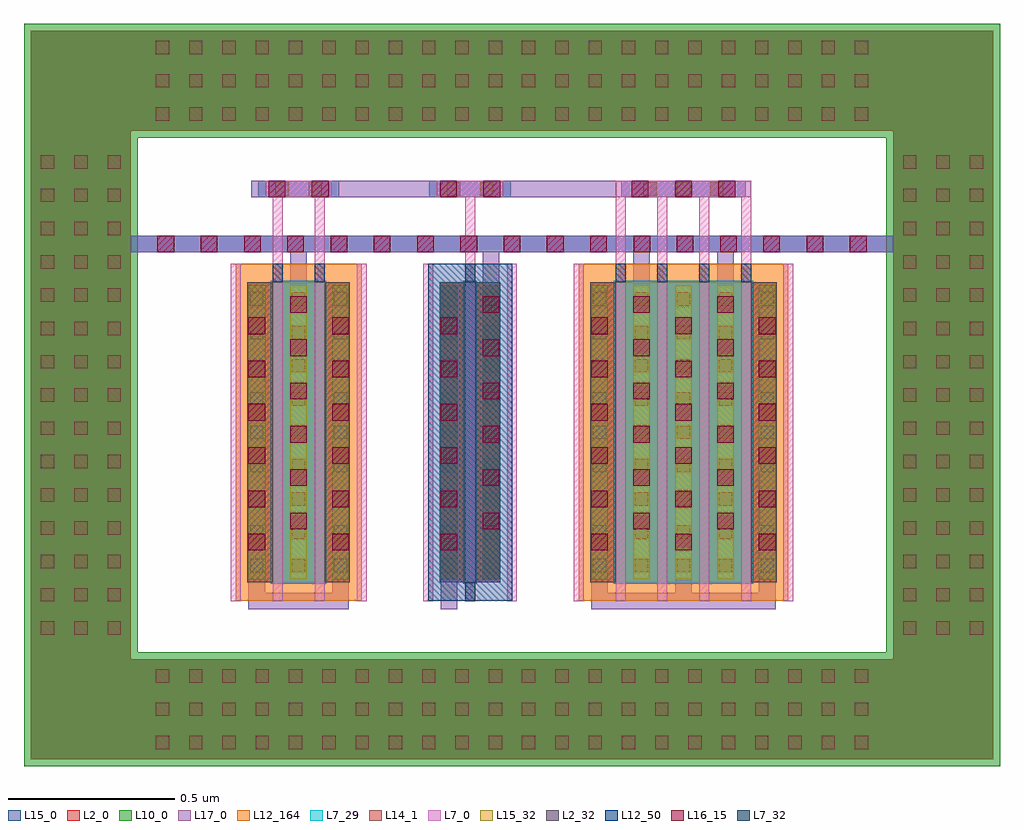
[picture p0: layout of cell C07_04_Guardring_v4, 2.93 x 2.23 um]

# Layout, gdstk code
import gdstk
lib = gdstk.Library(unit=1e-6, precision=1e-09)
def R(c, l, rs):  # rectangles x0, y0, x1, y1
    for r in rs: c.add(gdstk.rectangle(r[:2], r[2:], *l))
def A(c, l, x, y, w, h, nx, ny, dx, dy):  # array of equal rectangles
    R(c, l, [(x+i*dx, y+j*dy, x+i*dx+w, y+j*dy+h) for i in range(nx) for j in range(ny)])
L2_0 = (2, 0)
L2_32 = (2, 32)
L7_0 = (7, 0)
L7_29 = (7, 29)
L7_32 = (7, 32)
L10_0 = (10, 0)
L12_50 = (12, 50)
L12_164 = (12, 164)
L14_1 = (14, 1)
L15_0 = (15, 0)
L15_32 = (15, 32)
L16_15 = (16, 15)
L17_0 = (17, 0)

c07_04_guardring_v4_srf_ = lib.new_cell('C07_04_Guardring_v4:SRF_Tr12Tr3Tr10:SRF_Tr12:SRF_Source_ViaM1M2:SRF_ViaM1M2')
R(c07_04_guardring_v4_srf_, L15_0, [(0,-0.682,0.05,0.082)])
A(c07_04_guardring_v4_srf_, L16_15, 0, -0.65, 0.05, 0.05, 1, 6, 0, 0.13)
R(c07_04_guardring_v4_srf_, L17_0, [(0,-0.682,0.05,0.082)])

c_c07_04_guardring_v4_srf_ = lib.new_cell('C07_04_Guardring_v4:SRF_Tr12Tr3Tr10:SRF_Tr12:SRF_Source_ViaM1M2')
c_c07_04_guardring_v4_srf_.add(gdstk.Reference(c07_04_guardring_v4_srf_, (-0.025,0.3)))

c_c07_04_guardring_v4_srf__ = lib.new_cell('C07_04_Guardring_v4:SRF_Tr12Tr3Tr10:SRF_Tr12:SRF_Drain_ViaM1M2:SRF_ViaM1M2')
R(c_c07_04_guardring_v4_srf__, L15_0, [(0,-0.682,0.05,0.082)])
A(c_c07_04_guardring_v4_srf__, L16_15, 0, -0.65, 0.05, 0.05, 1, 6, 0, 0.13)
R(c_c07_04_guardring_v4_srf__, L17_0, [(0,-0.682,0.05,0.082)])

c_c07_04_guardring_v4_srf___ = lib.new_cell('C07_04_Guardring_v4:SRF_Tr12Tr3Tr10:SRF_Tr12:SRF_Drain_ViaM1M2')
c_c07_04_guardring_v4_srf___.add(gdstk.Reference(c_c07_04_guardring_v4_srf__, (-0.025,0.3)))

c_c07_04_guardring_v4_srf____ = lib.new_cell('C07_04_Guardring_v4:SRF_Tr12Tr3Tr10:SRF_Tr12:SRF_Gate_ViaM0Mx:SRF_ViaM0M1')
R(c_c07_04_guardring_v4_srf____, L7_0, [(-0.01,-0.004,0.15,0.044)])
R(c_c07_04_guardring_v4_srf____, L14_1, [(0,0,0.04,0.04), (0.1,0,0.14,0.04)])
R(c_c07_04_guardring_v4_srf____, L15_0, [(-0.021,-0.005,0.161,0.045)])

c_c07_04_guardring_v4_srf_____ = lib.new_cell('C07_04_Guardring_v4:SRF_Tr12Tr3Tr10:SRF_Tr12:SRF_Gate_ViaM0Mx:SRF_ViaM1M2')
R(c_c07_04_guardring_v4_srf_____, L15_0, [(-0.032,0,0.212,0.05)])
R(c_c07_04_guardring_v4_srf_____, L16_15, [(0,0,0.05,0.05), (0.13,0,0.18,0.05)])
R(c_c07_04_guardring_v4_srf_____, L17_0, [(-0.032,0,0.212,0.05)])

c_c07_04_guardring_v4_srf______ = lib.new_cell('C07_04_Guardring_v4:SRF_Tr12Tr3Tr10:SRF_Tr12:SRF_Gate_ViaM0Mx')
c_c07_04_guardring_v4_srf______.add(gdstk.Reference(c_c07_04_guardring_v4_srf____, (-0.07,-0.02)))
c_c07_04_guardring_v4_srf______.add(gdstk.Reference(c_c07_04_guardring_v4_srf_____, (-0.09,-0.025)))

c_c07_04_guardring_v4_srf_______ = lib.new_cell('C07_04_Guardring_v4:SRF_Tr12Tr3Tr10:SRF_Tr12')
R(c_c07_04_guardring_v4_srf_______, L2_0, [(-0.076,0.057,0.232,0.957)])
R(c_c07_04_guardring_v4_srf_______, L2_32, [(-0.076,0.057,0,0.957), (0.156,0.057,0.232,0.957)])
A(c_c07_04_guardring_v4_srf_______, L7_0, -0.126, 0, 0.03, 1.014, 4, 1, 0.126, 0)
R(c_c07_04_guardring_v4_srf_______, L7_0, [(0,1.014,0.03,1.214), (0.126,1.014,0.156,1.214), (-0.022,1.214,0.178,1.262)])
R(c_c07_04_guardring_v4_srf_______, L7_29, [(-0.005,0.052,0.161,0.962)])
R(c_c07_04_guardring_v4_srf_______, L7_32, [(0,0.957,0.03,1.014), (0.126,0.957,0.156,1.014)])
R(c_c07_04_guardring_v4_srf_______, L12_164, [(-0.111,0.001,0.267,1.013)])
A(c_c07_04_guardring_v4_srf_______, L14_1, -0.068, 0.087, 0.04, 0.04, 3, 9, 0.126, 0.1)
R(c_c07_04_guardring_v4_srf_______, L15_0, [(-0.073,0.066,-0.023,0.948), (-0.073,0.066,-0.023,0.948), (0.053,0.066,0.103,0.948), (0.053,0.066,0.103,0.948), (0.179,0.066,0.229,0.948), (0.179,0.066,0.229,0.948)])
A(c_c07_04_guardring_v4_srf_______, L15_32, -0.073, 0.066, 0.05, 0.882, 3, 1, 0.126, 0)
R(c_c07_04_guardring_v4_srf_______, L17_0, [(-0.073,-0.025,0.229,0.025), (-0.073,0.025,-0.023,0.884), (0.179,0.025,0.229,0.884), (0.053,0.948,0.103,1.048), (0.053,1.048,0.103,1.098), (-0.064,1.213,0.22,1.263)])
c_c07_04_guardring_v4_srf_______.add(gdstk.Reference(c_c07_04_guardring_v4_srf_, (-0.048,0.502)))
c_c07_04_guardring_v4_srf_______.add(gdstk.Reference(c_c07_04_guardring_v4_srf_, (0.204,0.502)))
c_c07_04_guardring_v4_srf_______.add(gdstk.Reference(c_c07_04_guardring_v4_srf___, (0.078,0.566)))
c_c07_04_guardring_v4_srf_______.add(gdstk.Reference(c_c07_04_guardring_v4_srf______, (0.078,1.238)))

c_c07_04_guardring_v4_srf________ = lib.new_cell('C07_04_Guardring_v4:SRF_Tr12Tr3Tr10:SRF_Tr3:SRF_Source_ViaM1M2:SRF_ViaM1M2')
R(c_c07_04_guardring_v4_srf________, L15_0, [(0,-0.682,0.05,0.082)])
A(c_c07_04_guardring_v4_srf________, L16_15, 0, -0.65, 0.05, 0.05, 1, 6, 0, 0.13)
R(c_c07_04_guardring_v4_srf________, L17_0, [(0,-0.682,0.05,0.082)])

c_c07_04_guardring_v4_srf_________ = lib.new_cell('C07_04_Guardring_v4:SRF_Tr12Tr3Tr10:SRF_Tr3:SRF_Source_ViaM1M2')
c_c07_04_guardring_v4_srf_________.add(gdstk.Reference(c_c07_04_guardring_v4_srf________, (-0.025,0.3)))

c_c07_04_guardring_v4_srf__________ = lib.new_cell('C07_04_Guardring_v4:SRF_Tr12Tr3Tr10:SRF_Tr3:SRF_Drain_ViaM1M2:SRF_ViaM1M2')
R(c_c07_04_guardring_v4_srf__________, L15_0, [(0,-0.682,0.05,0.082)])
A(c_c07_04_guardring_v4_srf__________, L16_15, 0, -0.65, 0.05, 0.05, 1, 6, 0, 0.13)
R(c_c07_04_guardring_v4_srf__________, L17_0, [(0,-0.682,0.05,0.082)])

c_c07_04_guardring_v4_srf___________ = lib.new_cell('C07_04_Guardring_v4:SRF_Tr12Tr3Tr10:SRF_Tr3:SRF_Drain_ViaM1M2')
c_c07_04_guardring_v4_srf___________.add(gdstk.Reference(c_c07_04_guardring_v4_srf__________, (-0.025,0.3)))

c_c07_04_guardring_v4_srf____________ = lib.new_cell('C07_04_Guardring_v4:SRF_Tr12Tr3Tr10:SRF_Tr3:SRF_Gate_ViaM0Mx:SRF_ViaM0M1')
R(c_c07_04_guardring_v4_srf____________, L7_0, [(-0.01,-0.004,0.15,0.044)])
R(c_c07_04_guardring_v4_srf____________, L14_1, [(0,0,0.04,0.04), (0.1,0,0.14,0.04)])
R(c_c07_04_guardring_v4_srf____________, L15_0, [(-0.021,-0.005,0.161,0.045)])

c_c07_04_guardring_v4_srf_____________ = lib.new_cell('C07_04_Guardring_v4:SRF_Tr12Tr3Tr10:SRF_Tr3:SRF_Gate_ViaM0Mx:SRF_ViaM1M2')
R(c_c07_04_guardring_v4_srf_____________, L15_0, [(-0.032,0,0.212,0.05)])
R(c_c07_04_guardring_v4_srf_____________, L16_15, [(0,0,0.05,0.05), (0.13,0,0.18,0.05)])
R(c_c07_04_guardring_v4_srf_____________, L17_0, [(-0.032,0,0.212,0.05)])

c_c07_04_guardring_v4_srf______________ = lib.new_cell('C07_04_Guardring_v4:SRF_Tr12Tr3Tr10:SRF_Tr3:SRF_Gate_ViaM0Mx')
c_c07_04_guardring_v4_srf______________.add(gdstk.Reference(c_c07_04_guardring_v4_srf____________, (-0.07,-0.02)))
c_c07_04_guardring_v4_srf______________.add(gdstk.Reference(c_c07_04_guardring_v4_srf_____________, (-0.09,-0.025)))

c_c07_04_guardring_v4_srf_______________ = lib.new_cell('C07_04_Guardring_v4:SRF_Tr12Tr3Tr10:SRF_Tr3')
R(c_c07_04_guardring_v4_srf_______________, L2_0, [(-0.076,0.057,0.106,0.957)])
R(c_c07_04_guardring_v4_srf_______________, L2_32, [(-0.076,0.057,0,0.957), (0.03,0.057,0.106,0.957)])
A(c_c07_04_guardring_v4_srf_______________, L7_0, -0.126, 0, 0.03, 1.014, 3, 1, 0.126, 0)
R(c_c07_04_guardring_v4_srf_______________, L7_0, [(0,1.014,0.03,1.214), (-0.085,1.214,0.115,1.262)])
R(c_c07_04_guardring_v4_srf_______________, L7_29, [(-0.005,0.052,0.035,0.962)])
R(c_c07_04_guardring_v4_srf_______________, L7_32, [(0,0,0.03,0.057), (0,0.957,0.03,1.014)])
R(c_c07_04_guardring_v4_srf_______________, L12_50, [(-0.111,0.001,0.141,1.013)])
A(c_c07_04_guardring_v4_srf_______________, L14_1, -0.068, 0.087, 0.04, 0.04, 1, 9, 0, 0.1)
A(c_c07_04_guardring_v4_srf_______________, L14_1, 0.058, 0.087, 0.04, 0.04, 1, 9, 0, 0.1)
R(c_c07_04_guardring_v4_srf_______________, L15_0, [(-0.073,0.066,-0.023,0.948), (-0.073,0.066,-0.023,0.948), (0.053,0.066,0.103,0.948), (0.053,0.066,0.103,0.948)])
R(c_c07_04_guardring_v4_srf_______________, L15_32, [(-0.073,0.066,-0.023,0.948), (0.053,0.066,0.103,0.948)])
R(c_c07_04_guardring_v4_srf_______________, L17_0, [(-0.073,-0.025,-0.023,0.025), (-0.073,0.025,-0.023,0.884), (0.053,0.948,0.103,1.048), (0.053,1.048,0.103,1.098), (-0.127,1.213,0.157,1.263)])
c_c07_04_guardring_v4_srf_______________.add(gdstk.Reference(c_c07_04_guardring_v4_srf_________, (-0.048,0.502)))
c_c07_04_guardring_v4_srf_______________.add(gdstk.Reference(c_c07_04_guardring_v4_srf___________, (0.078,0.566)))
c_c07_04_guardring_v4_srf_______________.add(gdstk.Reference(c_c07_04_guardring_v4_srf______________, (0.015,1.238)))

c_c07_04_guardring_v4_srf________________ = lib.new_cell('C07_04_Guardring_v4:SRF_Tr12Tr3Tr10:SRF_Tr10:SRF_Source_ViaM1M2:SRF_ViaM1M2')
R(c_c07_04_guardring_v4_srf________________, L15_0, [(0,-0.682,0.05,0.082)])
A(c_c07_04_guardring_v4_srf________________, L16_15, 0, -0.65, 0.05, 0.05, 1, 6, 0, 0.13)
R(c_c07_04_guardring_v4_srf________________, L17_0, [(0,-0.682,0.05,0.082)])

c_c07_04_guardring_v4_srf_________________ = lib.new_cell('C07_04_Guardring_v4:SRF_Tr12Tr3Tr10:SRF_Tr10:SRF_Source_ViaM1M2')
c_c07_04_guardring_v4_srf_________________.add(gdstk.Reference(c_c07_04_guardring_v4_srf________________, (-0.025,0.3)))

c_c07_04_guardring_v4_srf__________________ = lib.new_cell('C07_04_Guardring_v4:SRF_Tr12Tr3Tr10:SRF_Tr10:SRF_Drain_ViaM1M2:SRF_ViaM1M2')
R(c_c07_04_guardring_v4_srf__________________, L15_0, [(0,-0.682,0.05,0.082)])
A(c_c07_04_guardring_v4_srf__________________, L16_15, 0, -0.65, 0.05, 0.05, 1, 6, 0, 0.13)
R(c_c07_04_guardring_v4_srf__________________, L17_0, [(0,-0.682,0.05,0.082)])

c_c07_04_guardring_v4_srf___________________ = lib.new_cell('C07_04_Guardring_v4:SRF_Tr12Tr3Tr10:SRF_Tr10:SRF_Drain_ViaM1M2')
c_c07_04_guardring_v4_srf___________________.add(gdstk.Reference(c_c07_04_guardring_v4_srf__________________, (-0.025,0.3)))

c_c07_04_guardring_v4_srf____________________ = lib.new_cell('C07_04_Guardring_v4:SRF_Tr12Tr3Tr10:SRF_Tr10:SRF_Gate_ViaM0Mx:SRF_ViaM0M1')
R(c_c07_04_guardring_v4_srf____________________, L7_0, [(-0.01,-0.004,0.25,0.044)])
A(c_c07_04_guardring_v4_srf____________________, L14_1, 0, 0, 0.04, 0.04, 3, 1, 0.1, 0)
R(c_c07_04_guardring_v4_srf____________________, L15_0, [(-0.021,-0.005,0.261,0.045)])

c_c07_04_guardring_v4_srf_____________________ = lib.new_cell('C07_04_Guardring_v4:SRF_Tr12Tr3Tr10:SRF_Tr10:SRF_Gate_ViaM0Mx:SRF_ViaM1M2')
R(c_c07_04_guardring_v4_srf_____________________, L15_0, [(-0.032,0,0.342,0.05)])
A(c_c07_04_guardring_v4_srf_____________________, L16_15, 0, 0, 0.05, 0.05, 3, 1, 0.13, 0)
R(c_c07_04_guardring_v4_srf_____________________, L17_0, [(-0.032,0,0.342,0.05)])

c_c07_04_guardring_v4_srf______________________ = lib.new_cell('C07_04_Guardring_v4:SRF_Tr12Tr3Tr10:SRF_Tr10:SRF_Gate_ViaM0Mx')
c_c07_04_guardring_v4_srf______________________.add(gdstk.Reference(c_c07_04_guardring_v4_srf____________________, (-0.12,-0.02)))
c_c07_04_guardring_v4_srf______________________.add(gdstk.Reference(c_c07_04_guardring_v4_srf_____________________, (-0.155,-0.025)))

c_c07_04_guardring_v4_srf_______________________ = lib.new_cell('C07_04_Guardring_v4:SRF_Tr12Tr3Tr10:SRF_Tr10')
R(c_c07_04_guardring_v4_srf_______________________, L2_0, [(-0.076,0.057,0.484,0.957)])
R(c_c07_04_guardring_v4_srf_______________________, L2_32, [(-0.076,0.057,0,0.957), (0.408,0.057,0.484,0.957)])
A(c_c07_04_guardring_v4_srf_______________________, L7_0, -0.126, 0, 0.03, 1.014, 6, 1, 0.126, 0)
A(c_c07_04_guardring_v4_srf_______________________, L7_0, 0, 1.014, 0.03, 0.2, 4, 1, 0.126, 0)
R(c_c07_04_guardring_v4_srf_______________________, L7_0, [(0,1.214,0.408,1.262)])
R(c_c07_04_guardring_v4_srf_______________________, L7_29, [(-0.005,0.052,0.413,0.962)])
A(c_c07_04_guardring_v4_srf_______________________, L7_32, 0, 0.957, 0.03, 0.057, 4, 1, 0.126, 0)
R(c_c07_04_guardring_v4_srf_______________________, L12_164, [(-0.111,0.001,0.519,1.013)])
A(c_c07_04_guardring_v4_srf_______________________, L14_1, -0.068, 0.087, 0.04, 0.04, 5, 9, 0.126, 0.1)
R(c_c07_04_guardring_v4_srf_______________________, L15_0, [(-0.073,0.066,-0.023,0.948), (-0.073,0.066,-0.023,0.948), (0.053,0.066,0.103,0.948), (0.053,0.066,0.103,0.948), (0.179,0.066,0.229,0.948), (0.179,0.066,0.229,0.948), (0.305,0.066,0.355,0.948), (0.305,0.066,0.355,0.948), (0.431,0.066,0.481,0.948), (0.431,0.066,0.481,0.948)])
A(c_c07_04_guardring_v4_srf_______________________, L15_32, -0.073, 0.066, 0.05, 0.882, 5, 1, 0.126, 0)
A(c_c07_04_guardring_v4_srf_______________________, L17_0, -0.073, 0.025, 0.05, 0.859, 3, 1, 0.252, 0)
R(c_c07_04_guardring_v4_srf_______________________, L17_0, [(-0.073,-0.025,0.481,0.025), (0.053,0.948,0.103,1.048), (0.305,0.948,0.355,1.048), (0.053,1.048,0.355,1.098), (0,1.213,0.408,1.263)])
c_c07_04_guardring_v4_srf_______________________.add(gdstk.Reference(c_c07_04_guardring_v4_srf_________________, (-0.048,0.502)))
c_c07_04_guardring_v4_srf_______________________.add(gdstk.Reference(c_c07_04_guardring_v4_srf_________________, (0.204,0.502)))
c_c07_04_guardring_v4_srf_______________________.add(gdstk.Reference(c_c07_04_guardring_v4_srf_________________, (0.456,0.502)))
c_c07_04_guardring_v4_srf_______________________.add(gdstk.Reference(c_c07_04_guardring_v4_srf___________________, (0.078,0.566)))
c_c07_04_guardring_v4_srf_______________________.add(gdstk.Reference(c_c07_04_guardring_v4_srf___________________, (0.33,0.566)))
c_c07_04_guardring_v4_srf_______________________.add(gdstk.Reference(c_c07_04_guardring_v4_srf______________________, (0.204,1.238)))

c_c07_04_guardring_v4_srf________________________ = lib.new_cell('C07_04_Guardring_v4:SRF_Tr12Tr3Tr10')
c_c07_04_guardring_v4_srf________________________.add(gdstk.Reference(c_c07_04_guardring_v4_srf_______, (0,0)))
c_c07_04_guardring_v4_srf________________________.add(gdstk.Reference(c_c07_04_guardring_v4_srf_______________, (0.578,0)))
c_c07_04_guardring_v4_srf________________________.add(gdstk.Reference(c_c07_04_guardring_v4_srf_______________________, (1.03,0)))

c07_04_guardring_v4__pbo = lib.new_cell('C07_04_Guardring_v4:_Pbodyring:SRF_PbodyTop:SRF_PbodyContactPhyLen')
R(c07_04_guardring_v4__pbo, L2_0, [(-0.075,-0.23,2.215,0.07)])
R(c07_04_guardring_v4__pbo, L10_0, [(-0.096,-0.251,2.236,0.091)])
A(c07_04_guardring_v4__pbo, L14_1, 0, -0.2, 0.04, 0.04, 22, 3, 0.1, 0.1)
R(c07_04_guardring_v4__pbo, L15_0, [(-0.075,-0.23,2.215,0.07)])

c_c07_04_guardring_v4__pbo = lib.new_cell('C07_04_Guardring_v4:_Pbodyring:SRF_PbodyTop')
c_c07_04_guardring_v4__pbo.add(gdstk.Reference(c07_04_guardring_v4__pbo, (0,0)))

c_c07_04_guardring_v4__pbo_ = lib.new_cell('C07_04_Guardring_v4:_Pbodyring:SRF_PbodyBottom:SRF_PbodyContactPhyLen')
R(c_c07_04_guardring_v4__pbo_, L2_0, [(-0.075,-0.23,2.215,0.07)])
R(c_c07_04_guardring_v4__pbo_, L10_0, [(-0.096,-0.251,2.236,0.091)])
A(c_c07_04_guardring_v4__pbo_, L14_1, 0, -0.2, 0.04, 0.04, 22, 3, 0.1, 0.1)
R(c_c07_04_guardring_v4__pbo_, L15_0, [(-0.075,-0.23,2.215,0.07)])

c_c07_04_guardring_v4__pbo__ = lib.new_cell('C07_04_Guardring_v4:_Pbodyring:SRF_PbodyBottom')
c_c07_04_guardring_v4__pbo__.add(gdstk.Reference(c_c07_04_guardring_v4__pbo_, (0,0)))

c_c07_04_guardring_v4__pbo___ = lib.new_cell('C07_04_Guardring_v4:_Pbodyring:SRF_PbodyLeft:SRF_PbodyContactPhyLen')
R(c_c07_04_guardring_v4__pbo___, L2_0, [(-0.03,-1.474,0.27,0.114)])
R(c_c07_04_guardring_v4__pbo___, L10_0, [(-0.051,-1.495,0.291,0.135)])
A(c_c07_04_guardring_v4__pbo___, L14_1, 0, -1.4, 0.04, 0.04, 3, 15, 0.1, 0.1)
R(c_c07_04_guardring_v4__pbo___, L15_0, [(-0.03,-1.474,0.27,0.114)])

c_c07_04_guardring_v4__pbo____ = lib.new_cell('C07_04_Guardring_v4:_Pbodyring:SRF_PbodyLeft')
c_c07_04_guardring_v4__pbo____.add(gdstk.Reference(c_c07_04_guardring_v4__pbo___, (0,0)))

c_c07_04_guardring_v4__pbo_____ = lib.new_cell('C07_04_Guardring_v4:_Pbodyring:SRF_PbodyRight:SRF_PbodyContactPhyLen')
R(c_c07_04_guardring_v4__pbo_____, L2_0, [(-0.03,-1.474,0.27,0.114)])
R(c_c07_04_guardring_v4__pbo_____, L10_0, [(-0.051,-1.495,0.291,0.135)])
A(c_c07_04_guardring_v4__pbo_____, L14_1, 0, -1.4, 0.04, 0.04, 3, 15, 0.1, 0.1)
R(c_c07_04_guardring_v4__pbo_____, L15_0, [(-0.03,-1.474,0.27,0.114)])

c_c07_04_guardring_v4__pbo______ = lib.new_cell('C07_04_Guardring_v4:_Pbodyring:SRF_PbodyRight')
c_c07_04_guardring_v4__pbo______.add(gdstk.Reference(c_c07_04_guardring_v4__pbo_____, (0,0)))

c_c07_04_guardring_v4__pbo_______ = lib.new_cell('C07_04_Guardring_v4:_Pbodyring')
R(c_c07_04_guardring_v4__pbo_______, L2_0, [(-0.375,-2.118,2.515,-1.818), (-0.375,-2.118,-0.075,0.07), (2.215,-2.118,2.515,0.07), (-0.375,-0.23,2.515,0.07)])
R(c_c07_04_guardring_v4__pbo_______, L10_0, [(-0.396,-2.139,2.536,-1.797), (-0.396,-2.139,-0.054,0.091), (2.194,-2.139,2.536,0.091), (-0.396,-0.251,2.536,0.091)])
R(c_c07_04_guardring_v4__pbo_______, L15_0, [(-0.375,-2.118,2.515,-1.818), (-0.375,-2.118,-0.075,0.07), (2.215,-2.118,2.515,0.07), (-0.375,-0.23,2.515,0.07)])
c_c07_04_guardring_v4__pbo_______.add(gdstk.Reference(c_c07_04_guardring_v4__pbo, (0,0)))
c_c07_04_guardring_v4__pbo_______.add(gdstk.Reference(c_c07_04_guardring_v4__pbo__, (0,-1.888)))
c_c07_04_guardring_v4__pbo_______.add(gdstk.Reference(c_c07_04_guardring_v4__pbo____, (-0.345,-0.344)))
c_c07_04_guardring_v4__pbo_______.add(gdstk.Reference(c_c07_04_guardring_v4__pbo______, (2.245,-0.344)))

c_c07_04_guardring_v4_srf_________________________ = lib.new_cell('C07_04_Guardring_v4:SRF_Tr12Tr3Tr10_Drain_ViaM1M2:SRF_ViaM1M2')
R(c_c07_04_guardring_v4_srf_________________________, L15_0, [(-0.032,0,2.162,0.05)])
A(c_c07_04_guardring_v4_srf_________________________, L16_15, 0, 0, 0.05, 0.05, 17, 1, 0.13, 0)
R(c_c07_04_guardring_v4_srf_________________________, L17_0, [(-0.032,0,2.162,0.05)])

c_c07_04_guardring_v4_srf__________________________ = lib.new_cell('C07_04_Guardring_v4:SRF_Tr12Tr3Tr10_Drain_ViaM1M2')
c_c07_04_guardring_v4_srf__________________________.add(gdstk.Reference(c_c07_04_guardring_v4_srf_________________________, (-1.065,-0.025)))

c07_04_guardring_v4 = lib.new_cell('C07_04_Guardring_v4')
R(c07_04_guardring_v4, L15_0, [(-0.426,1.048,1.864,1.098)])
R(c07_04_guardring_v4, L17_0, [(-0.426,1.048,1.864,1.098), (-0.064,1.213,1.438,1.263)])
c07_04_guardring_v4.add(gdstk.Reference(c_c07_04_guardring_v4_srf________________________, (0,0)))
c07_04_guardring_v4.add(gdstk.Reference(c_c07_04_guardring_v4__pbo_______, (-0.351,1.643)))
c07_04_guardring_v4.add(gdstk.Reference(c_c07_04_guardring_v4_srf__________________________, (0.719,1.073)))

lib.write_gds('C07_04_Guardring_v4.gds')
